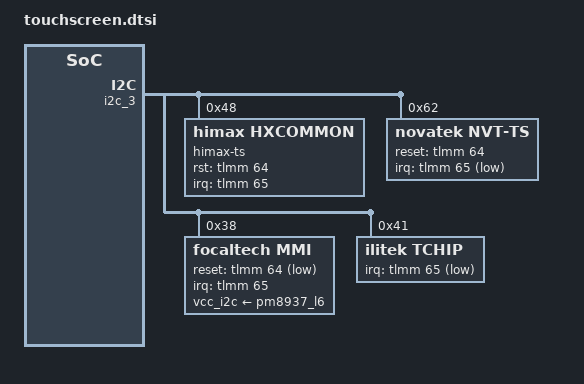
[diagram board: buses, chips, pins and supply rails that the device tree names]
&i2c_3 {
	status = "ok";
	himax-ts@48 {
		compatible = "himax,hxcommon";
		reg = <0x48>;
		interrupt-parent = <&tlmm>;
		interrupts = <65 0x2>;
		himax,rst-gpio = <&tlmm 64 0x00>;
		himax,irq-gpio = <&tlmm 65 0x00>;
		himax,display-coords = <0 720 0 1440>;
		himax,panel-coords = <0 720 0 1440>;
		report_type = <1>;
	};
	novatek@62 {
		compatible = "novatek,NVT-ts";
		reg = <0x62>;
		status = "ok";
		novatek,reset-gpio = <&tlmm 64 0x00>;
		novatek,irq-gpio = <&tlmm 65 0x2001>;
	};

	focaltech@38{
		compatible = "focaltech,mmi";
		reg = <0x38>;
		interrupt-parent = <&tlmm>;
		interrupts = <65 0x02>;
		vcc_i2c-supply = <&pm8937_l6>;
		pinctrl-names = "pmx_ts_active","pmx_ts_suspend","pmx_ts_release";
		pinctrl-0 = <&ts_int_active &ts_reset_active>;
		pinctrl-1 = <&ts_int_suspend &ts_reset_suspend>;
		pinctrl-2 = <&ts_release>;
		focaltech,name = "ft8006m";
		focaltech,family-id = <0x80>;
		focaltech,reset-gpio = <&tlmm 64 0x01>;
		focaltech,irq-gpio = <&tlmm 65 0x02>;
		focaltech,display-coords = <0 0 720 1440>;
		focaltech,max-touch-number = <10>;
		focaltech,no-force-update;
		focaltech,i2c-pull-up;
		focaltech,group-id = <1>;
		focaltech,hard-reset-delay-ms = <20>;
		focaltech,soft-reset-delay-ms = <200>;
		focaltech,num-max-touches = <10>;
		focaltech,fw-delay-aa-ms = <30>;
		focaltech,fw-delay-55-ms = <30>;
		focaltech,fw-upgrade-id1 = <0x79>;
		focaltech,fw-upgrade-id2 = <0x08>;
		focaltech,fw-delay-readid-ms = <10>;
		focaltech,fw-delay-era-flsh-ms = <2000>;
		focaltech,fw-auto-cal;
		focaltech,resume-in-workqueue;
		focaltech,ignore-id-check;
	};

	ilitek@41 {
		status = "ok";
		compatible = "ilitek,tchip";
		reg = <0x41>;
		ilitek,irq-gpio = <&tlmm 65 0x2001>;
		ilitek,mt_b_type;
		ilitek,display-coords = <0 0 720 1440>;
		ilitek,tpd_height = <2048>;
		ilitek,tpd_width = <2048>;
		ilitek,max_touch_num = <10>;
		ilitek,tp_touch_ic = <0x9881>;
		ilitek,tp_ic_type = "ILI9881";
	};

};
